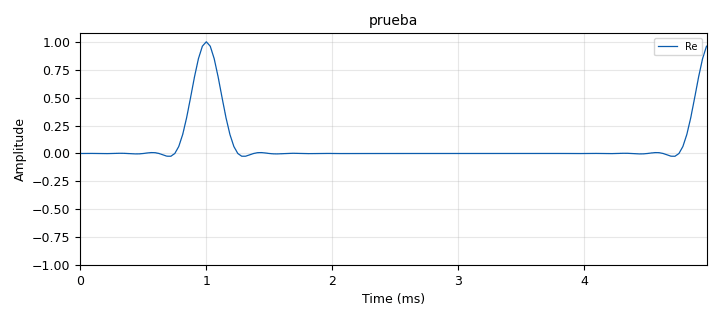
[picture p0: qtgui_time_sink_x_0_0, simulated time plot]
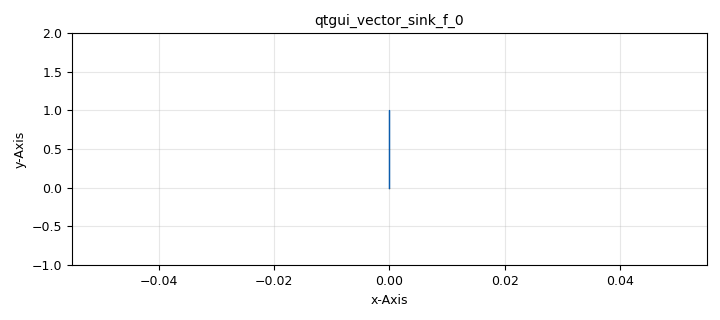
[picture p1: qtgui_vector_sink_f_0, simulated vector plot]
<?xml version='1.0' encoding='utf-8'?>
<?grc format='1' created='3.7.13'?>
<flow_graph>
<block>
<key>options</key>
<param><key>id</key><value>top_block</value></param>
<param><key>generate_options</key><value>qt_gui</value></param>
<param><key>run</key><value>run_stop</value></param>
</block>
<block>
<key>variable</key>
<param><key>id</key><value>N</value></param>
<param><key>value</key><value>8</value></param>
</block>
<block>
<key>variable</key>
<param><key>id</key><value>Sps</value></param>
<param><key>_enabled</key><value>0</value></param>
<param><key>value</key><value>len(h)</value></param>
</block>
<block>
<key>variable</key>
<param><key>id</key><value>Sps</value></param>
<param><key>value</key><value>8</value></param>
</block>
<block>
<key>variable</key>
<param><key>id</key><value>h</value></param>
<param><key>value</key><value>e_signal.pulso_rect(32,8)</value></param>
</block>
<block>
<key>variable</key>
<param><key>id</key><value>ntaps</value></param>
<param><key>value</key><value>128</value></param>
</block>
<block>
<key>variable</key>
<param><key>id</key><value>rolloff</value></param>
<param><key>value</key><value>1</value></param>
</block>
<block>
<key>variable_qtgui_check_box</key>
<param><key>id</key><value>run_stop</value></param>
<param><key>value</key><value>True</value></param>
<param><key>false</key><value>False</value></param>
<param><key>gui_hint</key><value>0,0</value></param>
<param><key>label</key><value>Inicial/Parar</value></param>
<param><key>true</key><value>True</value></param>
<param><key>type</key><value>int</value></param>
</block>
<block>
<key>variable</key>
<param><key>id</key><value>samp_rate</value></param>
<param><key>value</key><value>32000</value></param>
</block>
<block>
<key>blocks_stream_to_vector</key>
<param><key>id</key><value>blocks_stream_to_vector_0</value></param>
<param><key>type</key><value>float</value></param>
<param><key>num_items</key><value>N</value></param>
</block>
<block>
<key>blocks_throttle</key>
<param><key>id</key><value>blocks_throttle_0</value></param>
<param><key>_enabled</key><value>0</value></param>
<param><key>samples_per_second</key><value>samp_rate</value></param>
<param><key>type</key><value>float</value></param>
</block>
<block>
<key>blocks_vector_source_x</key>
<param><key>id</key><value>blocks_vector_source_x_0</value></param>
<param><key>_enabled</key><value>0</value></param>
<param><key>type</key><value>float</value></param>
<param><key>repeat</key><value>True</value></param>
<param><key>vector</key><value>wform.nyq(4,32)</value></param>
</block>
<block>
<key>blocks_vector_source_x</key>
<param><key>id</key><value>blocks_vector_source_x_0_0</value></param>
<param><key>type</key><value>float</value></param>
<param><key>repeat</key><value>True</value></param>
<param><key>vector</key><value>(0,0,1,1,1,0,0,0)</value></param>
</block>
<block>
<key>blocks_vector_source_x</key>
<param><key>id</key><value>blocks_vector_source_x_0_1</value></param>
<param><key>type</key><value>float</value></param>
<param><key>repeat</key><value>True</value></param>
<param><key>vector</key><value>wform.rcos(Sps,ntaps,rolloff)</value></param>
</block>
<block>
<key>epy_module</key>
<param><key>id</key><value>e_signal</value></param>
<param><key>source_code</key><value>import numpy as np
####################################################################################################
##                                  pulso rectangular                                             ##
####################################################################################################
def pulso_rect(ntaps,n_ones):
	x=np.zeros(ntaps)                           # crea un vector de tamano ntaps lleno de ceros
	ntaps_m= int(ntaps/2)                       # el punto medio del vector
	ntaps_i= ntaps_m-int(n_ones/2)              # el punto de inicio para los unos
	x[ntaps_i:ntaps_i+n_ones:1]=np.ones(n_ones) #llenado de los unos
	return np.ones(ntaps)

</value></param>
</block>
<block>
<key>import</key>
<param><key>id</key><value>import_0</value></param>
<param><key>import</key><value>import numpy</value></param>
</block>
<block>
<key>interp_fir_filter_xxx</key>
<param><key>id</key><value>interp_fir_filter_xxx_0</value></param>
<param><key>_enabled</key><value>0</value></param>
<param><key>interp</key><value>1</value></param>
<param><key>taps</key><value>h</value></param>
<param><key>type</key><value>fff</value></param>
</block>
<block>
<key>qtgui_time_sink_x</key>
<param><key>id</key><value>qtgui_time_sink_x_0</value></param>
<param><key>autoscale</key><value>True</value></param>
<param><key>ctrlpanel</key><value>True</value></param>
<param><key>color1</key><value>"blue"</value></param>
<param><key>label1</key><value></value></param>
<param><key>size</key><value>N</value></param>
<param><key>srate</key><value>samp_rate</value></param>
<param><key>type</key><value>float</value></param>
</block>
<block>
<key>qtgui_time_sink_x</key>
<param><key>id</key><value>qtgui_time_sink_x_0_0</value></param>
<param><key>gui_hint</key><value>3,0,1,2</value></param>
<param><key>color1</key><value>"blue"</value></param>
<param><key>label1</key><value>Re</value></param>
<param><key>width1</key><value>3</value></param>
<param><key>name</key><value>"prueba"</value></param>
<param><key>size</key><value>20*Sps</value></param>
<param><key>srate</key><value>samp_rate</value></param>
<param><key>type</key><value>float</value></param>
</block>
<block>
<key>qtgui_vector_sink_f</key>
<param><key>id</key><value>qtgui_vector_sink_f_0</value></param>
<param><key>showports</key><value>True</value></param>
<param><key>vlen</key><value>N</value></param>
<param><key>x_start</key><value>0</value></param>
<param><key>x_step</key><value>1/samp_rate</value></param>
<param><key>ymax</key><value>2</value></param>
<param><key>ymin</key><value>-1</value></param>
</block>
<block>
<key>epy_module</key>
<param><key>id</key><value>wform</value></param>
<param><key>source_code</key><value>import math
import numpy
#######################################################
##        Hecho por Homero Ortega Boada              ##
##        comdiguis@saber.uis.edu.co                 ##
##     Universidad Industrial de Santander           ##
#######################################################

#######################################################
##               Forma rectangular                   ##
#######################################################                       
def rect(Sps):
    return Sps*[1.,]

#######################################################
##               Forma de Nyquist                    ##
#######################################################                       
def nyq(Sps,ntaps):
    n=numpy.linspace(-int(ntaps/2), int(ntaps/2-1),ntaps)
    h=numpy.sinc(n/Sps)
#    return h/numpy.amax(h)
    return h
#######################################################
##               Forma Coseno Alzado                 ##
#######################################################                       
def rcos(Sps,ntaps,beta):
    if beta==0:
        h=nyq(Sps,ntaps)
    else:
        h=ntaps*[0,]
        for n in range(ntaps):
            k=n-ntaps/2. # esto es para que h[n] quede centrada en la mitad del vector
            if abs(k)==Sps/(2.*beta):
                h[n]=numpy.sinc(1./(2.*beta))*math.pi/4.
            else:
                h[n]=numpy.sinc(k/Sps)*math.cos(beta*k*math.pi/Sps)/(1.-(2.*beta*k/Sps)**2)                
    Amp=numpy.amax(h)
    return h/Amp
#######################################################
##            Forma Raiz de Coseno Alzado            ##
#######################################################                       

def rrcos(Sps,ntaps,beta):
    if beta==0:
        h=nyq(Sps,ntaps)
    else:
        h=ntaps*[0,]
        beta4=4.*beta
        for n in range(ntaps):
            k=n-ntaps/2. # esto es para que h[n] quede centrada en la mitad del vector
            if k==0:
                h[n]=1+beta*(4./math.pi-1.)
            elif abs(k)==Sps/beta4:
                ha=(1.+2./math.pi)*math.sin(math.pi/beta4)
                hb=(1.-2./math.pi)*math.cos(math.pi/beta4)
                h[n]=(ha+hb)*beta/math.sqrt(2.)
            else:
                ks=k/Sps
                kspi=math.pi*ks
                Num=math.sin(kspi*(1-beta))+beta4*ks*math.cos(kspi*(1+beta))
                Den=kspi*(1.-(beta4*ks)**2)
                h[n]=Num/Den                
    Amp=numpy.amax(h)
    return h/Amp
</value></param>
</block>
<connection><source_block_id>blocks_stream_to_vector_0</source_block_id><sink_block_id>qtgui_vector_sink_f_0</sink_block_id><source_key>0</source_key><sink_key>0</sink_key></connection>
<connection><source_block_id>blocks_throttle_0</source_block_id><sink_block_id>qtgui_time_sink_x_0</sink_block_id><source_key>0</source_key><sink_key>0</sink_key></connection>
<connection><source_block_id>blocks_vector_source_x_0</source_block_id><sink_block_id>blocks_stream_to_vector_0</sink_block_id><source_key>0</source_key><sink_key>0</sink_key></connection>
<connection><source_block_id>blocks_vector_source_x_0</source_block_id><sink_block_id>blocks_throttle_0</sink_block_id><source_key>0</source_key><sink_key>0</sink_key></connection>
<connection><source_block_id>blocks_vector_source_x_0</source_block_id><sink_block_id>interp_fir_filter_xxx_0</sink_block_id><source_key>0</source_key><sink_key>0</sink_key></connection>
<connection><source_block_id>blocks_vector_source_x_0_0</source_block_id><sink_block_id>blocks_stream_to_vector_0</sink_block_id><source_key>0</source_key><sink_key>0</sink_key></connection>
<connection><source_block_id>blocks_vector_source_x_0_1</source_block_id><sink_block_id>qtgui_time_sink_x_0_0</sink_block_id><source_key>0</source_key><sink_key>0</sink_key></connection>
</flow_graph>
